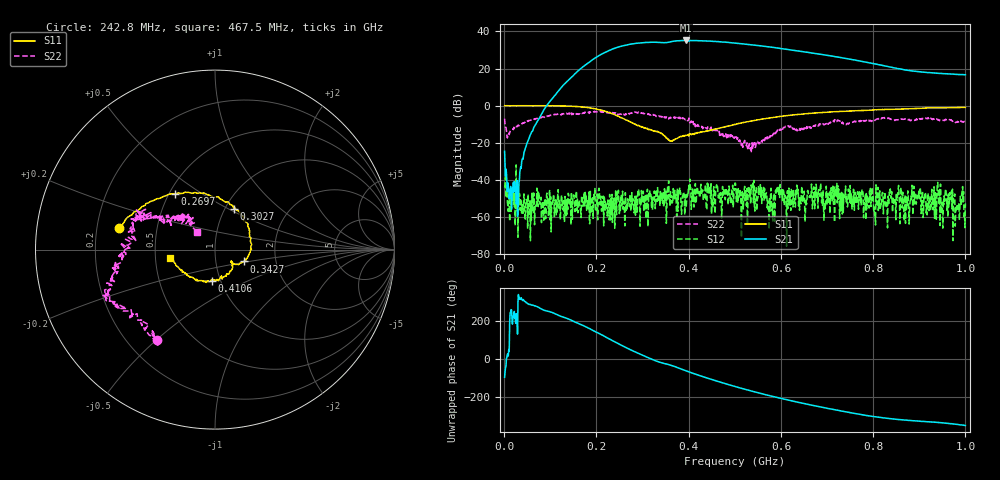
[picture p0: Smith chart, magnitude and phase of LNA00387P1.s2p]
! Created with skrf 1.9.0 (http://scikit-rf.org).
# Hz S RI R 50.0
!freq ReS11 ImS11 ReS21 ImS21 ReS12 ImS12 ReS22 ImS22
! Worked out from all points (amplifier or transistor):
!   1001 points, 1 MHz to 1 GHz, reference 50 ohm
!   highest |S21| = 35.1 dB at 394.6 MHz (marker M1)
!   |S21| within 3 dB of that: 255.8 MHz to 558.5 MHz (302.6 MHz wide, 74.3 % of centre)
!   unconditionally stable (mu >= 1): 8.539 MHz to 55.44 MHz; 228.8 MHz to 402.6 MHz; 402.6 MHz to end of sweep (the widest 3 of 34)
!   at 166.8 MHz: K = 3.45, MAG = 31.9 dB, |S12| = -60.2 dB
!   at 500.5 MHz: K = 1.34, MAG = 34.2 dB, |S12| = -41.6 dB
!   at 1 GHz: K = 4.80, MAG = 24.9 dB, |S12| = -52.6 dB
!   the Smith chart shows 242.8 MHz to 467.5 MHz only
!   S11 on the Smith chart (normalised r, x): 242.8 MHz: 0.29, +0.10; 269.7 MHz: 0.53, +0.39; 302.7 MHz: 1.10, +0.54; 342.7 MHz: 1.37, -0.19; 410.6 MHz: 0.91, -0.32; 467.5 MHz: 0.60, -0.06
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1000000  1.002 0.00734  -0.00482 -0.0595  0.00162 0.00595  0.3118 0.3223
1.08892e8  0.5276 -0.8441  -0.8667 -1.611  -0.000741 0.000719  0.4318 -0.3753
1.67833e8  -0.22 -0.8988  -10.41 -0.3878  0.00214 -0.00303  0.0286 -0.6251
2.08792e8  -0.6497 -0.4113  -15.88 17.4  0.00193 0.00125  -0.224 -0.6447
2.42758e8  -0.5354 0.1184  0.9579 36.16  -8.05e-05 -0.00229  -0.3225 -0.5029
2.69731e8  -0.2246 0.3109  25.02 36.3  0.0021 -0.00117  -0.5111 -0.3418
3.02698e8  0.1054 0.2287  47.13 15.88  0.000364 -0.00136  -0.5743 -0.2005
3.34666e8  0.1957 -0.0143  49.34 -11.62  -0.00186 0.0021  -0.5198 -0.0175
3.42658e8  0.1616 -0.0659  47.05 -16.56  -0.00102 0.00386  -0.5063 -0.0124
3.68632e8  0.0952 -0.0734  43.81 -32.72  0.00231 0.00184  -0.4345 0.169
3.94606e8  0.0552 -0.1479  27.84 -49.88  -0.0018 0.000105  -0.4009 0.1642
4.1059e8  -0.0165 -0.1727  14.81 -54.92  0.00418 0.00284  -0.2774 0.1406
4.37563e8  -0.1399 -0.1513  -6.652 -54.95  0.00167 0.00171  -0.1815 0.1776
4.67533e8  -0.2486 -0.0446  -25.95 -45.79  -0.00315 0.000155  -0.101 0.0998
5.005e8  -0.2791 0.1336  -39.14 -28.99  0.00368 -0.00743  -0.1333 0.0526
5.39461e8  -0.2151 0.3287  -42.44 -7.829  0.00746 -0.00361  -0.0842 -0.00299
5.85415e8  -0.036 0.4876  -35.05 11.29  0.00242 -0.00371  -0.167 -0.0772
6.25375e8  0.15 0.541  -23.76 20.05  0.00113 -0.00379  -0.2144 -0.1251
6.67333e8  0.3473 0.5217  -12.1 23.09  -0.000133 -0.00567  -0.2804 -0.034
7.51249e8  0.6275 0.3536  3.648 17.39  0.000725 -0.00223  -0.3444 0.0613
8.34166e8  0.784 0.1288  7.497 8.301  2.64e-05 -0.00234  -0.4259 0.1775
1e9  0.8041 -0.4093  6.709 1.321  -2.19e-05 0.00234  -0.0649 0.3518
